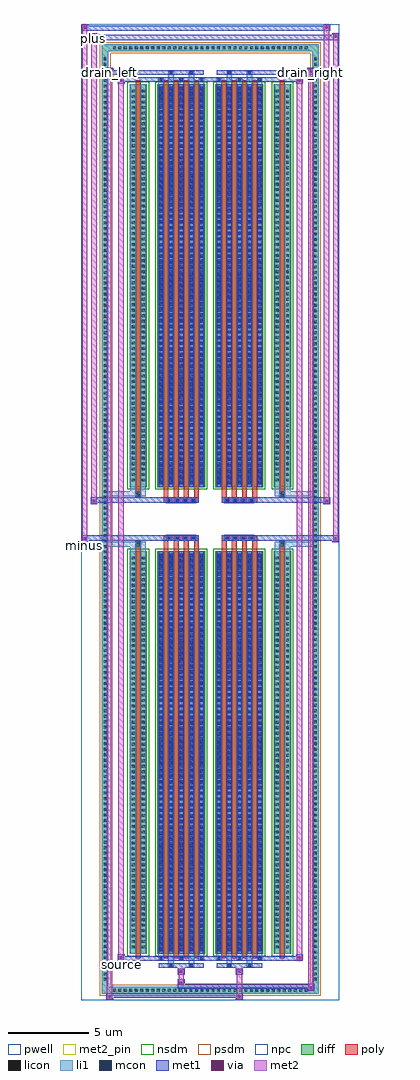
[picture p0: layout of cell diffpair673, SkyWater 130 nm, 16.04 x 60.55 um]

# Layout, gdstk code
import gdstk
lib = gdstk.Library(unit=1e-6, precision=5e-09)
def R(c, l, rs):  # rectangles x0, y0, x1, y1
    for r in rs: c.add(gdstk.rectangle(r[:2], r[2:], *l))
def A(c, l, x, y, w, h, nx, ny, dx, dy):  # array of equal rectangles
    R(c, l, [(x+i*dx, y+j*dy, x+i*dx+w, y+j*dy+h) for i in range(nx) for j in range(ny)])
def P(c, l, *ps):  # polygons
    for p in ps: c.add(gdstk.Polygon(p, *l))
pwell = (64, 44)
diff = (65, 20)
poly = (66, 20)
licon = (66, 44)
li1 = (67, 20)
mcon = (67, 44)
met1 = (68, 20)
via = (68, 44)
met2_pin = (69, 16)
met2 = (69, 20)
nsdm = (93, 44)
psdm = (94, 20)
npc = (95, 20)

diffpair673 = lib.new_cell('diffpair673')
R(diffpair673, pwell, [(-8,-29.84,8,30.71), (-5.32,-28.03,-0.01,-0.805), (0.01,-28.03,5.32,-0.805), (-5.32,0.805,-0.01,28.03), (0.01,0.805,5.32,28.03)])
A(diffpair673, diff, -6.155, -29.44, 0.41, 0.41, 36, 2, 0.34, 58.47)
A(diffpair673, diff, -6.73, -28.765, 0.41, 0.41, 1, 169, 0, 0.34)
A(diffpair673, diff, 6.32, -28.765, 0.41, 0.41, 1, 169, 0, 0.34)
R(diffpair673, diff, [(-6.155,-29.44,6.155,-29.03), (-6.73,-28.765,-6.32,28.765), (6.32,-28.765,6.73,28.765), (-5.01,-26.985,-3.93,-1.985), (-3.29,-26.985,-0.32,-1.985), (0.32,-26.985,3.29,-1.985), (3.93,-26.985,5.01,-1.985), (-5.01,1.985,-3.93,26.985), (-3.29,1.985,-0.32,26.985), (0.32,1.985,3.29,26.985), (3.93,1.985,5.01,26.985), (-6.155,29.03,6.155,29.44)])
P(diffpair673, diff, [(6.73,29.44),(-6.73,29.44),(-6.73,-29.03),(-6.32,-29.03),(-6.32,29.03),(6.32,29.03),(6.32,-29.03),(-6.32,-29.03),(-6.73,-29.03),(-6.73,-29.44),(6.73,-29.44)])
A(diffpair673, poly, -2.9, -27.235, 0.3, 25.5, 4, 2, 0.63, 28.97)
A(diffpair673, poly, 0.71, -27.235, 0.3, 25.5, 4, 2, 0.63, 28.97)
A(diffpair673, poly, -2.9, -1.735, 0.3, 0.4, 4, 2, 0.63, 3.07)
A(diffpair673, poly, 0.71, -1.735, 0.3, 0.4, 4, 2, 0.63, 3.07)
A(diffpair673, poly, -2.72, -1.335, 0.33, 0.33, 4, 2, 0.5, 2.34)
A(diffpair673, poly, 0.89, -1.335, 0.33, 0.33, 4, 2, 0.5, 2.34)
R(diffpair673, poly, [(-4.62,-27.235,-4.32,-1.735), (4.32,-27.235,4.62,-1.735), (-4.635,-1.735,-4.305,-1.405), (-4.635,-1.735,-4.305,-1.405), (4.305,-1.735,4.635,-1.405), (4.305,-1.735,4.635,-1.405), (-2.9,-1.335,-0.71,-1.005), (0.71,-1.335,2.9,-1.005), (-2.9,1.005,-0.71,1.335), (0.71,1.005,2.9,1.335), (-4.635,1.405,-4.305,1.735), (-4.635,1.405,-4.305,1.735), (4.305,1.405,4.635,1.735), (4.305,1.405,4.635,1.735), (-4.62,1.735,-4.32,27.235), (4.32,1.735,4.62,27.235)])
A(diffpair673, licon, -6.035, -29.32, 0.17, 0.17, 36, 2, 0.34, 58.47)
A(diffpair673, licon, -6.61, -28.645, 0.17, 0.17, 1, 169, 0, 0.34)
A(diffpair673, licon, 6.44, -28.645, 0.17, 0.17, 1, 169, 0, 0.34)
A(diffpair673, licon, -4.87, -26.64, 0.17, 0.17, 1, 72, 0, 0.34)
A(diffpair673, licon, -4.24, -26.64, 0.17, 0.17, 1, 72, 0, 0.34)
A(diffpair673, licon, -3.15, -26.64, 0.17, 0.17, 5, 72, 0.63, 0.34)
A(diffpair673, licon, 0.46, -26.64, 0.17, 0.17, 5, 72, 0.63, 0.34)
A(diffpair673, licon, 4.07, -26.64, 0.17, 0.17, 1, 72, 0, 0.34)
A(diffpair673, licon, 4.7, -26.64, 0.17, 0.17, 1, 72, 0, 0.34)
A(diffpair673, licon, -2.64, -1.255, 0.17, 0.17, 4, 2, 0.5, 2.34)
A(diffpair673, licon, 0.97, -1.255, 0.17, 0.17, 4, 2, 0.5, 2.34)
A(diffpair673, licon, -4.87, 2.33, 0.17, 0.17, 1, 72, 0, 0.34)
A(diffpair673, licon, -4.24, 2.33, 0.17, 0.17, 1, 72, 0, 0.34)
A(diffpair673, licon, -3.15, 2.33, 0.17, 0.17, 5, 72, 0.63, 0.34)
A(diffpair673, licon, 0.46, 2.33, 0.17, 0.17, 5, 72, 0.63, 0.34)
A(diffpair673, licon, 4.07, 2.33, 0.17, 0.17, 1, 72, 0, 0.34)
A(diffpair673, licon, 4.7, 2.33, 0.17, 0.17, 1, 72, 0, 0.34)
R(diffpair673, licon, [(-4.555,-1.655,-4.385,-1.485), (4.385,-1.655,4.555,-1.485), (-4.555,1.485,-4.385,1.655), (4.385,1.485,4.555,1.655)])
A(diffpair673, li1, -6.115, -29.4, 0.33, 0.33, 36, 2, 0.34, 58.47)
A(diffpair673, li1, -6.69, -28.725, 0.33, 0.33, 1, 169, 0, 0.34)
A(diffpair673, li1, 6.36, -28.725, 0.33, 0.33, 1, 169, 0, 0.34)
A(diffpair673, li1, -3.23, -27.36, 0.33, 0.375, 3, 2, 1.26, 54.345)
A(diffpair673, li1, -3.15, -27.36, 0.17, 0.17, 3, 2, 1.26, 54.55)
A(diffpair673, li1, 0.38, -27.36, 0.33, 0.375, 3, 2, 1.26, 54.345)
A(diffpair673, li1, 0.46, -27.36, 0.17, 0.17, 3, 2, 1.26, 54.55)
A(diffpair673, li1, -3.23, -26.985, 0.33, 25, 5, 2, 0.63, 28.97)
A(diffpair673, li1, 0.38, -26.985, 0.33, 25, 5, 2, 0.63, 28.97)
A(diffpair673, li1, -3.15, -26.81, 0.17, 0.17, 5, 69, 0.63, 0.36)
A(diffpair673, li1, -3.15, -26.81, 0.17, 24.65, 5, 2, 0.63, 28.97)
A(diffpair673, li1, 0.46, -26.81, 0.17, 0.17, 5, 69, 0.63, 0.36)
A(diffpair673, li1, 0.46, -26.81, 0.17, 24.65, 5, 2, 0.63, 28.97)
A(diffpair673, li1, -4.95, -26.72, 0.33, 0.33, 1, 72, 0, 0.34)
A(diffpair673, li1, -4.32, -26.72, 0.33, 0.33, 1, 72, 0, 0.34)
A(diffpair673, li1, -3.23, -26.72, 0.33, 0.33, 5, 72, 0.63, 0.34)
A(diffpair673, li1, 0.38, -26.72, 0.33, 0.33, 5, 72, 0.63, 0.34)
A(diffpair673, li1, 3.99, -26.72, 0.33, 0.33, 1, 72, 0, 0.34)
A(diffpair673, li1, 4.62, -26.72, 0.33, 0.33, 1, 72, 0, 0.34)
A(diffpair673, li1, -2.72, -1.335, 0.33, 0.33, 4, 2, 0.5, 2.34)
A(diffpair673, li1, 0.89, -1.335, 0.33, 0.33, 4, 2, 0.5, 2.34)
A(diffpair673, li1, -3.15, 2.16, 0.17, 0.17, 5, 69, 0.63, 0.36)
A(diffpair673, li1, 0.46, 2.16, 0.17, 0.17, 5, 69, 0.63, 0.36)
A(diffpair673, li1, -4.95, 2.25, 0.33, 0.33, 1, 72, 0, 0.34)
A(diffpair673, li1, -4.32, 2.25, 0.33, 0.33, 1, 72, 0, 0.34)
A(diffpair673, li1, -3.23, 2.25, 0.33, 0.33, 5, 72, 0.63, 0.34)
A(diffpair673, li1, 0.38, 2.25, 0.33, 0.33, 5, 72, 0.63, 0.34)
A(diffpair673, li1, 3.99, 2.25, 0.33, 0.33, 1, 72, 0, 0.34)
A(diffpair673, li1, 4.62, 2.25, 0.33, 0.33, 1, 72, 0, 0.34)
R(diffpair673, li1, [(-6.73,-29.44,-6.32,-29.03), (-6.73,-29.44,-6.32,-29.03), (-6.32,-29.44,6.32,-29.03), (6.32,-29.44,6.73,-29.03), (6.32,-29.44,6.73,-29.03), (-6.73,-29.03,-6.32,29.03), (6.32,-29.03,6.73,29.03), (-2.6,-27.79,-2.27,-26.985), (-2.52,-27.79,-2.35,-27.62), (-1.34,-27.79,-1.01,-26.985), (-1.26,-27.79,-1.09,-27.62), (1.01,-27.79,1.34,-26.985), (1.09,-27.79,1.26,-27.62), (2.27,-27.79,2.6,-26.985), (2.35,-27.79,2.52,-27.62), (-4.95,-26.985,-4.62,-1.985), (-4.32,-26.985,-3.99,-1.985), (3.99,-26.985,4.32,-1.985), (4.62,-26.985,4.95,-1.985), (-4.95,-1.985,-4.62,-1.405), (-4.32,-1.985,-3.99,-1.405), (3.99,-1.985,4.32,-1.405), (4.62,-1.985,4.95,-1.405), (-6.73,-1.735,-4.635,-1.405), (-4.95,-1.735,-4.635,-1.405), (-4.635,-1.735,-4.305,-1.405), (-4.305,-1.735,-3.99,-1.405), (3.99,-1.735,4.305,-1.405), (4.305,-1.735,4.635,-1.405), (4.305,-1.735,6.73,-1.405), (4.635,-1.735,4.95,-1.405), (-6.73,1.405,-4.635,1.735), (-4.95,1.405,-4.635,1.735), (-4.95,1.405,-4.62,1.985), (-4.635,1.405,-4.305,1.735), (-4.32,1.405,-3.99,1.985), (-4.305,1.405,-3.99,1.735), (3.99,1.405,4.305,1.735), (3.99,1.405,4.32,1.985), (4.305,1.405,4.635,1.735), (4.305,1.405,6.73,1.735), (4.62,1.405,4.95,1.985), (4.635,1.405,4.95,1.735), (-4.95,1.985,-4.62,26.985), (-4.32,1.985,-3.99,26.985), (3.99,1.985,4.32,26.985), (4.62,1.985,4.95,26.985), (-2.6,26.985,-2.27,27.79), (-1.34,26.985,-1.01,27.79), (1.01,26.985,1.34,27.79), (2.27,26.985,2.6,27.79), (-2.52,27.62,-2.35,27.79), (-1.26,27.62,-1.09,27.79), (1.09,27.62,1.26,27.79), (2.35,27.62,2.52,27.79), (-6.73,29.03,-6.32,29.44), (-6.73,29.03,-6.32,29.44), (-6.32,29.03,6.32,29.44), (6.32,29.03,6.73,29.44), (6.32,29.03,6.73,29.44)])
A(diffpair673, mcon, -3.15, -27.36, 0.17, 0.17, 3, 2, 1.26, 54.55)
A(diffpair673, mcon, 0.46, -27.36, 0.17, 0.17, 3, 2, 1.26, 54.55)
A(diffpair673, mcon, -3.15, -26.81, 0.17, 0.17, 5, 69, 0.63, 0.36)
A(diffpair673, mcon, 0.46, -26.81, 0.17, 0.17, 5, 69, 0.63, 0.36)
A(diffpair673, mcon, -2.64, -1.255, 0.17, 0.17, 4, 2, 0.5, 2.34)
A(diffpair673, mcon, 0.97, -1.255, 0.17, 0.17, 4, 2, 0.5, 2.34)
A(diffpair673, mcon, -3.15, 2.16, 0.17, 0.17, 5, 69, 0.63, 0.36)
A(diffpair673, mcon, 0.46, 2.16, 0.17, 0.17, 5, 69, 0.63, 0.36)
R(diffpair673, mcon, [(-2.52,-27.79,-2.35,-27.62), (-1.26,-27.79,-1.09,-27.62), (1.09,-27.79,1.26,-27.62), (2.35,-27.79,2.52,-27.62), (-2.52,27.62,-2.35,27.79), (-1.26,27.62,-1.09,27.79), (1.09,27.62,1.26,27.79), (2.35,27.62,2.52,27.79)])
A(diffpair673, met1, -3.21, -27.42, 0.29, 0.29, 3, 2, 1.26, 54.55)
A(diffpair673, met1, 0.4, -27.42, 0.29, 0.29, 3, 2, 1.26, 54.55)
A(diffpair673, met1, -3.21, -26.985, 0.29, 25, 5, 2, 0.63, 28.97)
A(diffpair673, met1, 0.4, -26.985, 0.29, 25, 5, 2, 0.63, 28.97)
A(diffpair673, met1, -3.21, -26.87, 0.29, 0.29, 5, 69, 0.63, 0.36)
A(diffpair673, met1, 0.4, -26.87, 0.29, 0.29, 5, 69, 0.63, 0.36)
A(diffpair673, met1, -2.7, -1.315, 0.29, 0.29, 4, 2, 0.5, 2.34)
A(diffpair673, met1, 0.91, -1.315, 0.29, 0.29, 4, 2, 0.5, 2.34)
A(diffpair673, met1, -3.21, 2.1, 0.29, 0.29, 5, 69, 0.63, 0.36)
A(diffpair673, met1, 0.4, 2.1, 0.29, 0.29, 5, 69, 0.63, 0.36)
R(diffpair673, met1, [(-6.46,-29.84,-6.03,-29.41), (1.59,-29.84,2.02,-29.41), (-6.46,-29.7,2.02,-29.41), (6.03,-29.27,6.46,-28.84), (-2.02,-29.13,6.46,-28.84), (-2.02,-28.99,-1.59,-28.56), (-2.02,-28.28,-1.59,-27.85), (1.59,-28.28,2.02,-27.85), (-3.21,-27.85,-0.4,-27.56), (-2.58,-27.85,-2.29,-27.56), (-1.32,-27.85,-1.03,-27.56), (0.4,-27.85,3.21,-27.56), (1.03,-27.85,1.32,-27.56), (2.29,-27.85,2.58,-27.56), (-5.75,-27.42,-5.32,-26.99), (-5.75,-27.42,-3.21,-27.13), (-3.21,-27.42,-0.4,-27.13), (-0.4,-27.42,0.4,-27.13), (0.4,-27.42,3.21,-27.13), (3.21,-27.42,5.75,-27.13), (5.32,-27.42,5.75,-26.99), (-8,-1.435,-7.57,-1.005), (7.57,-1.435,8,-1.005), (-8,-1.335,-0.71,-1.005), (-2.9,-1.335,-0.71,-1.005), (0.71,-1.335,2.9,-1.005), (0.71,-1.335,8,-1.005), (-7.43,0.905,-7,1.335), (7,0.905,7.43,1.335), (-7.43,1.005,-2.9,1.335), (-2.9,1.005,-0.71,1.335), (0.71,1.005,2.9,1.335), (2.9,1.005,7.43,1.335), (-5.75,26.99,-5.32,27.42), (5.32,26.99,5.75,27.42), (-5.75,27.13,-3.21,27.42), (-3.21,27.13,-0.4,27.42), (-0.4,27.13,0.4,27.42), (0.4,27.13,3.21,27.42), (3.21,27.13,5.75,27.42), (-6.46,27.56,-6.03,27.99), (-6.46,27.56,-3.21,27.85), (-3.21,27.56,-0.4,27.85), (-2.58,27.56,-2.29,27.85), (-1.32,27.56,-1.03,27.85), (0.4,27.56,3.21,27.85), (1.03,27.56,1.32,27.85), (2.29,27.56,2.58,27.85), (3.21,27.56,6.46,27.85), (6.03,27.56,6.46,27.99), (-7.43,29.71,-7,30.14), (-7.43,29.71,-5.32,30.04), (-5.32,29.71,5.32,30.04), (5.32,29.71,8,30.04), (7.57,29.71,8,30.14), (-8,30.28,-7.57,30.71), (-8,30.28,-5.32,30.61), (-5.32,30.28,5.32,30.61), (5.32,30.28,7.43,30.61), (7,30.28,7.43,30.71)])
R(diffpair673, via, [(-6.32,-29.7,-6.17,-29.55), (1.73,-29.7,1.88,-29.55), (6.17,-29.13,6.32,-28.98), (-1.88,-28.85,-1.73,-28.7), (-1.88,-28.14,-1.73,-27.99), (1.73,-28.14,1.88,-27.99), (-5.61,-27.28,-5.46,-27.13), (5.46,-27.28,5.61,-27.13), (-7.86,-1.295,-7.71,-1.145), (7.71,-1.295,7.86,-1.145), (-7.29,1.045,-7.14,1.195), (7.14,1.045,7.29,1.195), (-5.61,27.13,-5.46,27.28), (5.46,27.13,5.61,27.28), (-6.32,27.7,-6.17,27.85), (6.17,27.7,6.32,27.85), (-7.29,29.85,-7.14,30), (7.71,29.85,7.86,30), (-7.86,30.42,-7.71,30.57), (7.14,30.42,7.29,30.57)])
R(diffpair673, met2_pin, [(-5.785,-27.87,-5.285,-27.37), (-8.035,-1.885,-7.535,-1.385), (-6.495,27.44,-5.995,27.94), (5.995,27.44,6.495,27.94), (-7.465,29.59,-6.965,30.09)])
R(diffpair673, met2, [(-6.41,-29.79,-6.08,-29.46), (-6.41,-29.79,-6.08,27.94), (1.64,-29.79,1.97,-29.46), (1.64,-29.46,1.97,-28.23), (6.08,-29.22,6.41,-28.89), (6.08,-29.22,6.41,27.94), (-1.97,-28.94,-1.64,-28.61), (-1.97,-28.61,-1.64,-28.23), (-1.97,-28.23,-1.64,-27.9), (1.64,-28.23,1.97,-27.9), (-5.7,-27.37,-5.37,-27.04), (-5.7,-27.37,-5.37,27.37), (5.37,-27.37,5.7,-27.04), (5.37,-27.37,5.7,27.37), (-7.95,-1.385,-7.62,-1.055), (-7.95,-1.385,-7.62,30.66), (7.62,-1.385,7.95,-1.055), (7.62,-1.385,7.95,30.09), (-7.38,0.955,-7.05,1.285), (-7.38,0.955,-7.05,30.09), (7.05,0.955,7.38,1.285), (7.05,0.955,7.38,30.66), (-5.7,27.04,-5.37,27.37), (5.37,27.04,5.7,27.37), (-6.41,27.61,-6.08,27.94), (6.08,27.61,6.41,27.94), (-7.38,29.76,-7.05,30.09), (7.62,29.76,7.95,30.09), (-7.95,30.33,-7.62,30.66), (7.05,30.33,7.38,30.66)])
P(diffpair673, met2, [(7.95,-1.385),(7.95,-1.385),(7.95,-1.055),(7.95,-1.055)],
  [(7.95,29.76),(7.95,29.76),(7.95,30.09),(7.95,30.09)],
  [(-7.62,-1.385),(-7.62,-1.385),(-7.62,-1.055),(-7.62,-1.055)],
  [(-7.62,30.33),(-7.62,30.33),(-7.62,30.66),(-7.62,30.66)],
  [(7.38,0.955),(7.38,0.955),(7.38,1.285),(7.38,1.285)],
  [(7.38,30.33),(7.38,30.33),(7.38,30.66),(7.38,30.66)],
  [(-7.05,0.955),(-7.05,0.955),(-7.05,1.285),(-7.05,1.285)],
  [(-7.05,29.76),(-7.05,29.76),(-7.05,30.09),(-7.05,30.09)],
  [(-6.08,-29.79),(-6.08,-29.79),(-6.08,-29.46),(-6.08,-29.46)],
  [(-6.08,27.61),(-6.08,27.61),(-6.08,27.94),(-6.08,27.94)],
  [(6.41,-29.22),(6.41,-29.22),(6.41,-28.89),(6.41,-28.89)],
  [(6.41,27.61),(6.41,27.61),(6.41,27.94),(6.41,27.94)],
  [(-5.37,-27.37),(-5.37,-27.37),(-5.37,-27.04),(-5.37,-27.04)],
  [(-5.37,27.04),(-5.37,27.04),(-5.37,27.37),(-5.37,27.37)],
  [(5.7,-27.37),(5.7,-27.37),(5.7,-27.04),(5.7,-27.04)],
  [(5.7,27.04),(5.7,27.04),(5.7,27.37),(5.7,27.37)])
R(diffpair673, nsdm, [(-5.14,-27.115,-3.8,-1.855), (-3.42,-27.115,-0.19,-1.855), (0.19,-27.115,3.42,-1.855), (3.8,-27.115,5.14,-1.855), (-5.14,1.855,-3.8,27.115), (-3.42,1.855,-0.19,27.115), (0.19,1.855,3.42,27.115), (3.8,1.855,5.14,27.115)])
P(diffpair673, psdm, [(6.86,29.57),(-6.86,29.57),(-6.86,-28.9),(-6.19,-28.9),(-6.19,28.9),(6.19,28.9),(6.19,-28.9),(-6.19,-28.9),(-6.86,-28.9),(-6.86,-29.57),(6.86,-29.57)])
A(diffpair673, npc, -2.74, -1.355, 0.37, 0.37, 4, 2, 0.5, 2.34)
A(diffpair673, npc, 0.87, -1.355, 0.37, 0.37, 4, 2, 0.5, 2.34)
R(diffpair673, npc, [(-4.655,-1.755,-4.285,-1.385), (4.285,-1.755,4.655,-1.385), (-2.74,-1.355,-1.87,-0.985), (-2.74,-1.355,-1.87,-0.985), (-2.24,-1.355,-1.37,-0.985), (-2.24,-1.355,-1.37,-0.985), (-1.74,-1.355,-0.87,-0.985), (-1.74,-1.355,-0.87,-0.985), (0.87,-1.355,1.74,-0.985), (0.87,-1.355,1.74,-0.985), (1.37,-1.355,2.24,-0.985), (1.37,-1.355,2.24,-0.985), (1.87,-1.355,2.74,-0.985), (1.87,-1.355,2.74,-0.985), (-2.74,0.985,-1.87,1.355), (-2.74,0.985,-1.87,1.355), (-2.24,0.985,-1.37,1.355), (-2.24,0.985,-1.37,1.355), (-1.74,0.985,-0.87,1.355), (-1.74,0.985,-0.87,1.355), (0.87,0.985,1.74,1.355), (0.87,0.985,1.74,1.355), (1.37,0.985,2.24,1.355), (1.37,0.985,2.24,1.355), (1.87,0.985,2.74,1.355), (1.87,0.985,2.74,1.355), (-4.655,1.385,-4.285,1.755), (4.285,1.385,4.655,1.755)])
diffpair673.add(gdstk.Label('minus', (-7.785,-1.635), layer=69, texttype=5))
diffpair673.add(gdstk.Label('drain_right', (6.245,27.69), layer=69, texttype=5))
diffpair673.add(gdstk.Label('drain_left', (-6.245,27.69), layer=69, texttype=5))
diffpair673.add(gdstk.Label('source', (-5.535,-27.62), layer=69, texttype=5))
diffpair673.add(gdstk.Label('plus', (-7.215,29.84), layer=69, texttype=5))

lib.write_gds('diffpair673.gds')
